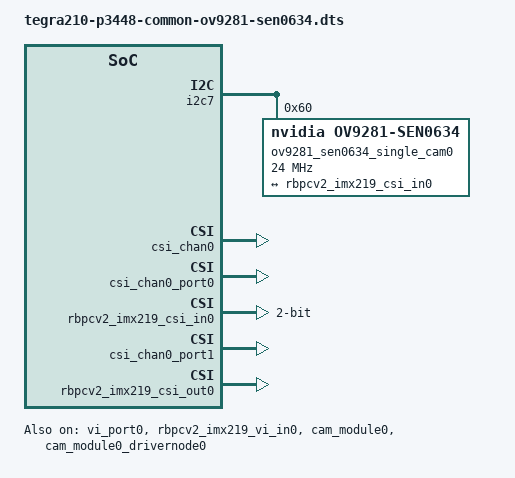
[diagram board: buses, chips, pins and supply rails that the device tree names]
// SPDX-License-Identifier: GPL-2.0
/* Jetson Nano A02 overlay for DFRobot SEN0634 OV9281. */

/dts-v1/;
/plugin/;

#include <dt-bindings/clock/tegra210-car.h>

/ {
	overlay-name = "Camera OV9281 SEN0634";
	jetson-header-name = "Jetson Nano CSI Connector";
	compatible = "nvidia,p3449-0000-a02+p3448-0000-a02";

	fragment@0 {
		target = <&i2c7>;
		__overlay__ {
			#address-cells = <1>;
			#size-cells = <0>;

			ov9281_sen0634_single_cam0: ov9281_sen0634_a@60 {
				compatible = "nvidia,ov9281-sen0634";
				reg = <0x60>;
				status = "okay";
				devnode = "video0";
				physical_w = "3.840";
				physical_h = "2.400";
				sensor_model = "ov9281";
				use_sensor_mode_id = "true";

				/*
				 * R32.7.6 camera_common_s_power() requires a clock
				 * handle.  SEN0634 Pin 12 is NC on the module side,
				 * so this 24 MHz declaration is framework-only; the
				 * sensor is clocked by its onboard 24 MHz oscillator.
				 */
				clocks = <&tegra_car TEGRA210_CLK_CLK_OUT_3>;
				clock-names = "clk_out_3";
				clock-frequency = <24000000>;
				mclk = "clk_out_3";

				mode0 {
					mclk_khz = "24000";
					num_lanes = "2";
					tegra_sinterface = "serial_a";
					phy_mode = "DPHY";
					discontinuous_clk = "no";
					dpcm_enable = "false";
					cil_settletime = "0";
					mode_type = "bayer";
					pixel_phase = "rggb";
					csi_pixel_bit_depth = "10";
					pixel_t = "bayer_rggb10";
					active_w = "1280";
					active_h = "800";
					active_l = "0";
					active_t = "0";
					readout_orientation = "0";
					line_length = "1530";
					inherent_gain = "1";
					mclk_multiplier = "6.66667";
					pix_clk_hz = "160000000";
					gain_factor = "16";
					min_gain_val = "16";
					max_gain_val = "255";
					step_gain_val = "1";
					default_gain = "16";
					min_hdr_ratio = "1";
					max_hdr_ratio = "1";
					framerate_factor = "1000000";
					min_framerate = "2000000";
					max_framerate = "57000000";
					step_framerate = "1";
					default_framerate = "57000000";
					exposure_factor = "1000000";
					min_exp_time = "10";
					max_exp_time = "500000";
					step_exp_time = "1";
					default_exp_time = "5000";
					embedded_metadata_height = "0";
				};

				ports {
					#address-cells = <1>;
					#size-cells = <0>;
					port@0 {
						reg = <0>;
						ov9281_sen0634_out0: endpoint {
							port-index = <0>;
							bus-width = <2>;
							remote-endpoint = <&rbpcv2_imx219_csi_in0>;
						};
					};
				};
			};
		};
	};

	fragment@1 {
		target = <&imx219_single_cam0>;
		__overlay__ { status = "disabled"; };
	};

	fragment@2 {
		target = <&imx477_single_cam0>;
		__overlay__ { status = "disabled"; };
	};

	fragment@3 {
		target = <&vi_base>;
		__overlay__ { num-channels = <1>; };
	};

	fragment@4 {
		target = <&vi_port0>;
		__overlay__ { status = "okay"; };
	};

	fragment@5 {
		target = <&rbpcv2_imx219_vi_in0>;
		__overlay__ {
			status = "okay";
			port-index = <0>;
			bus-width = <2>;
			remote-endpoint = <&rbpcv2_imx219_csi_out0>;
		};
	};

	fragment@6 {
		target = <&csi_base>;
		__overlay__ { num-channels = <1>; };
	};

	fragment@7 {
		target = <&csi_chan0>;
		__overlay__ { status = "okay"; };
	};

	fragment@8 {
		target = <&csi_chan0_port0>;
		__overlay__ { status = "okay"; };
	};

	fragment@9 {
		target = <&rbpcv2_imx219_csi_in0>;
		__overlay__ {
			status = "okay";
			port-index = <0>;
			bus-width = <2>;
			remote-endpoint = <&ov9281_sen0634_out0>;
		};
	};

	fragment@10 {
		target = <&csi_chan0_port1>;
		__overlay__ { status = "okay"; };
	};

	fragment@11 {
		target = <&rbpcv2_imx219_csi_out0>;
		__overlay__ {
			status = "okay";
			remote-endpoint = <&rbpcv2_imx219_vi_in0>;
		};
	};

	fragment@12 {
		target = <&cam_module0>;
		__overlay__ {
			status = "okay";
			badge = "porg_front_OV9281_SEN0634";
			position = "front";
			orientation = "1";
		};
	};

	fragment@13 {
		target = <&cam_module0_drivernode0>;
		__overlay__ {
			status = "okay";
			pcl_id = "v4l2_sensor";
			devname = "ov9281_sen0634 6-0060";
			proc-device-tree = "/proc/device-tree/host1x/i2c@546c0000/ov9281_sen0634_a@60";
		};
	};

	fragment@14 {
		target = <&cam_module0_drivernode1>;
		__overlay__ { status = "disabled"; };
	};

	fragment@15 {
		target = <&tcp>;
		__overlay__ {
			num_csi_lanes = <2>;
			max_lane_speed = <1500000>;
			min_bits_per_pixel = <10>;
			vi_peak_byte_per_pixel = <2>;
			vi_bw_margin_pct = <25>;
			max_pixel_rate = <160000>;
			isp_peak_byte_per_pixel = <5>;
			isp_bw_margin_pct = <25>;
		};
	};
};
